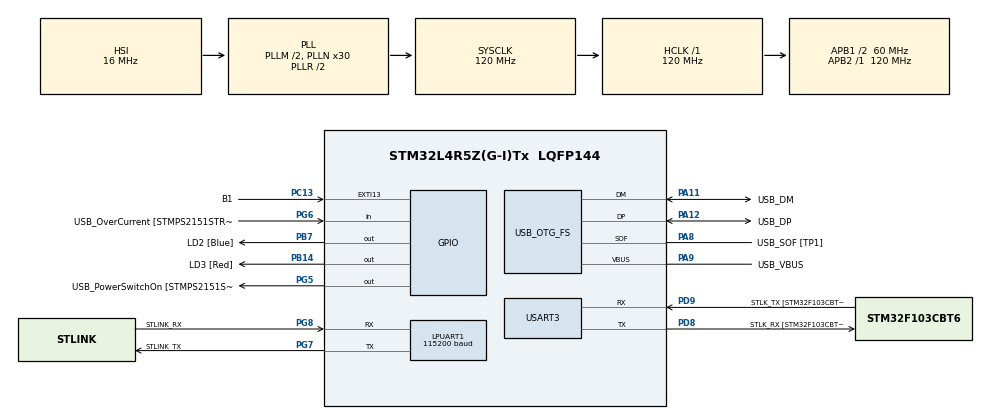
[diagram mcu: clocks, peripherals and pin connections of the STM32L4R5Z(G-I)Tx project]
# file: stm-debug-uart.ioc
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LPUART1.BaudRate=115200
LPUART1.WordLength=UART_WORDLENGTH_8B
Mcu.Family=STM32L4
Mcu.Name=STM32L4R5Z(G-I)Tx
Mcu.Package=LQFP144
NVIC.PriorityGroup=NVIC_PRIORITYGROUP_4
NVIC.USART3_IRQn=true\:0\:0\:false\:false\:true\:true\:true
PA10.GPIO_Label=USB_ID
PA10.Signal=USB_OTG_FS_ID
PA11.GPIO_Label=USB_DM
PA11.Mode=Device_Only
PA11.Signal=USB_OTG_FS_DM
PA12.GPIO_Label=USB_DP
PA12.Mode=Device_Only
PA12.Signal=USB_OTG_FS_DP
PA13\ (JTMS/SWDIO).GPIO_Label=TMS
PA13\ (JTMS/SWDIO).Mode=Trace_Asynchronous_SW
PA13\ (JTMS/SWDIO).Signal=SYS_JTMS-SWDIO
PA14\ (JTCK/SWCLK).GPIO_Label=TCK
PA14\ (JTCK/SWCLK).Mode=Trace_Asynchronous_SW
PA14\ (JTCK/SWCLK).Signal=SYS_JTCK-SWCLK
PA8.GPIO_Label=USB_SOF [TP1]
PA8.Mode=Activate_SOF_FS
PA8.Signal=USB_OTG_FS_SOF
PA9.GPIO_Label=USB_VBUS
PA9.Mode=Activate_VBUS
PA9.Signal=USB_OTG_FS_VBUS
PB14.GPIO_Label=LD3 [Red]
PB14.Signal=GPIO_Output
PB3\ (JTDO/TRACESWO).GPIO_Label=SWO
PB3\ (JTDO/TRACESWO).Mode=Trace_Asynchronous_SW
PB3\ (JTDO/TRACESWO).Signal=SYS_JTDO-SWO
PB7.GPIO_Label=LD2 [Blue]
PB7.Signal=GPIO_Output
PC13.GPIO_Label=B1
PC13.Signal=GPXTI13
PC14-OSC32_IN\ (PC14).Mode=LSE-External-Oscillator
PC14-OSC32_IN\ (PC14).Signal=RCC_OSC32_IN
PC15-OSC32_OUT\ (PC15).Mode=LSE-External-Oscillator
PC15-OSC32_OUT\ (PC15).Signal=RCC_OSC32_OUT
PD8.GPIO_Label=STLK_RX [STM32F103CBT6_PA3]
PD8.Mode=Asynchronous
PD8.Signal=USART3_TX
PD9.GPIO_Label=STLK_TX [STM32F103CBT6_PA2]
PD9.Mode=Asynchronous
PD9.Signal=USART3_RX
PG5.GPIO_Label=USB_PowerSwitchOn [STMPS2151STR_EN]
PG5.Signal=GPIO_Output
PG6.GPIO_Label=USB_OverCurrent [STMPS2151STR_FAULT]
PG6.Signal=GPIO_Input
PG7.GPIO_Label=STLINK_TX
PG7.Mode=Asynchronous
PG7.Signal=LPUART1_TX
PG8.GPIO_Label=STLINK_RX
PG8.Mode=Asynchronous
PG8.Signal=LPUART1_RX
PH0-OSC_IN\ (PH0).Signal=RCC_OSC_IN
PH1-OSC_OUT\ (PH1).Signal=RCC_OSC_OUT
ProjectManager.HeapSize=0x200
ProjectManager.StackSize=0x400
ProjectManager.TargetToolchain=EWARM V8.32
RCC.48MHZClocksFreq_Value=24000000
RCC.ADCFreq_Value=96000000
RCC.AHBFreq_Value=120000000
RCC.APB1CLKDivider=RCC_HCLK_DIV2
RCC.APB1Freq_Value=60000000
RCC.APB1TimFreq_Value=120000000
RCC.APB2Freq_Value=120000000
RCC.APB2TimFreq_Value=120000000
RCC.CK48CLockSelection=RCC_USBCLKSOURCE_HSI48
RCC.CortexFreq_Value=120000000
RCC.HCLKFreq_Value=120000000
RCC.HSE_VALUE=8000000
RCC.HSI48_VALUE=48000000
RCC.HSI_VALUE=16000000
RCC.MSI_VALUE=4000000
RCC.PLLM1=2
RCC.PLLMUL=RCC_PLL_MUL9
RCC.PLLN=30
RCC.PLLSAI1N=12
RCC.PLLSourceVirtual=RCC_PLLSOURCE_HSI
RCC.PRESCALERUSB=RCC_USBCLKSOURCE_PLL_DIV1_5
RCC.SYSCLKFreq_VALUE=120000000
RCC.SYSCLKSource=RCC_SYSCLKSOURCE_PLLCLK
RCC.SYSCLKSourceVirtual=RCC_SYSCLKSOURCE_PLLCLK
RCC.USBFreq_Value=48000000
RCC.VCOOutputFreq_Value=240000000
USART3.VirtualMode-Asynchronous=VM_ASYNC
USB_OTG_FS.VirtualMode=Device_Only
board=NUCLEO-L4R5ZI

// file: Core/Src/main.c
/* USER CODE BEGIN Header */
/**
  ******************************************************************************
  * @file           : main.c
  * @brief          : Main program body
  ******************************************************************************
  * @attention
  *
  * <h2><center>&copy; Copyright (c) 2022 STMicroelectronics.
  * All rights reserved.</center></h2>
  *
  * This software component is licensed by ST under BSD 3-Clause license,
  * the "License"; You may not use this file except in compliance with the
  * License. You may obtain a copy of the License at:
  *                        opensource.org/licenses/BSD-3-Clause
  *
  ******************************************************************************
  */
/* USER CODE END Header */
#include "main.h"

/* USER CODE BEGIN Includes */
#include <errno.h>
#include <stdio.h>
#include <string.h>

/* USER CODE END Includes */

UART_HandleTypeDef hlpuart1;
UART_HandleTypeDef huart3;

PCD_HandleTypeDef hpcd_USB_OTG_FS;

/* USER CODE BEGIN PV */
char command[512];
int idx = 0;
/* USER CODE END PV */

void SystemClock_Config(void);
static void MX_GPIO_Init(void);
static void MX_LPUART1_UART_Init(void);
static void MX_USART3_UART_Init(void);
static void MX_USB_OTG_FS_PCD_Init(void);
/* USER CODE BEGIN PFP */
void RetargetInit(UART_HandleTypeDef *huart);

/* USER CODE END PFP */

int main(void)
{
  /* USER CODE BEGIN 1 */
  int c;

  /* USER CODE END 1 */

  /* MCU Configuration--------------------------------------------------------*/

  /* Reset of all peripherals, Initializes the Flash interface and the Systick. */
  HAL_Init();

  /* Configure the system clock */
  SystemClock_Config();

  /* Initialize all configured peripherals */
  MX_GPIO_Init();
  MX_LPUART1_UART_Init();
  MX_USART3_UART_Init();
  MX_USB_OTG_FS_PCD_Init();
  /* USER CODE BEGIN 2 */
  RetargetInit(&hlpuart1);
  printf("ready\r\n");
  /* USER CODE END 2 */

  /* Infinite loop */
  while (1)
  {

    /* USER CODE BEGIN 3 */
		c = getchar();
		if (c == '\n')
		{
			printf("%s\r\n", command);
			memset(command, 0, 512);
			printf("ready\r\n");
		}
		else
		{
			command[idx] = c;
            ++idx;
            idx = idx > 510 ? 510 : idx;
		}
  }
  /* USER CODE END 3 */
}

void SystemClock_Config(void)
{
  RCC_OscInitTypeDef RCC_OscInitStruct = {0};
  RCC_ClkInitTypeDef RCC_ClkInitStruct = {0};

  /** Configure the main internal regulator output voltage
  */
  if (HAL_PWREx_ControlVoltageScaling(PWR_REGULATOR_VOLTAGE_SCALE1_BOOST) != HAL_OK)
  {
    Error_Handler();
  }
  /** Initializes the RCC Oscillators according to the specified parameters
  * in the RCC_OscInitTypeDef structure.
  */
  RCC_OscInitStruct.OscillatorType = RCC_OSCILLATORTYPE_HSI48|RCC_OSCILLATORTYPE_HSI;
  RCC_OscInitStruct.HSIState = RCC_HSI_ON;
  RCC_OscInitStruct.HSI48State = RCC_HSI48_ON;
  RCC_OscInitStruct.HSICalibrationValue = RCC_HSICALIBRATION_DEFAULT;
  RCC_OscInitStruct.PLL.PLLState = RCC_PLL_ON;
  RCC_OscInitStruct.PLL.PLLSource = RCC_PLLSOURCE_HSI;
  RCC_OscInitStruct.PLL.PLLM = 2;
  RCC_OscInitStruct.PLL.PLLN = 30;
  RCC_OscInitStruct.PLL.PLLP = RCC_PLLP_DIV2;
  RCC_OscInitStruct.PLL.PLLQ = RCC_PLLQ_DIV2;
  RCC_OscInitStruct.PLL.PLLR = RCC_PLLR_DIV2;
  if (HAL_RCC_OscConfig(&RCC_OscInitStruct) != HAL_OK)
  {
    Error_Handler();
  }
  /** Initializes the CPU, AHB and APB buses clocks
  */
  RCC_ClkInitStruct.ClockType = RCC_CLOCKTYPE_HCLK|RCC_CLOCKTYPE_SYSCLK
                              |RCC_CLOCKTYPE_PCLK1|RCC_CLOCKTYPE_PCLK2;
  RCC_ClkInitStruct.SYSCLKSource = RCC_SYSCLKSOURCE_PLLCLK;
  RCC_ClkInitStruct.AHBCLKDivider = RCC_SYSCLK_DIV1;
  RCC_ClkInitStruct.APB1CLKDivider = RCC_HCLK_DIV2;
  RCC_ClkInitStruct.APB2CLKDivider = RCC_HCLK_DIV1;

  if (HAL_RCC_ClockConfig(&RCC_ClkInitStruct, FLASH_LATENCY_5) != HAL_OK)
  {
    Error_Handler();
  }
}

static void MX_LPUART1_UART_Init(void)
{

  hlpuart1.Instance = LPUART1;
  hlpuart1.Init.BaudRate = 115200;
  hlpuart1.Init.WordLength = UART_WORDLENGTH_8B;
  hlpuart1.Init.StopBits = UART_STOPBITS_1;
  hlpuart1.Init.Parity = UART_PARITY_NONE;
  hlpuart1.Init.Mode = UART_MODE_TX_RX;
  hlpuart1.Init.HwFlowCtl = UART_HWCONTROL_NONE;
  hlpuart1.Init.OneBitSampling = UART_ONE_BIT_SAMPLE_DISABLE;
  hlpuart1.Init.ClockPrescaler = UART_PRESCALER_DIV1;
  hlpuart1.AdvancedInit.AdvFeatureInit = UART_ADVFEATURE_NO_INIT;
  hlpuart1.FifoMode = UART_FIFOMODE_DISABLE;
  if (HAL_UART_Init(&hlpuart1) != HAL_OK)
  {
    Error_Handler();
  }
  if (HAL_UARTEx_SetTxFifoThreshold(&hlpuart1, UART_TXFIFO_THRESHOLD_1_8) != HAL_OK)
  {
    Error_Handler();
  }
  if (HAL_UARTEx_SetRxFifoThreshold(&hlpuart1, UART_RXFIFO_THRESHOLD_1_8) != HAL_OK)
  {
    Error_Handler();
  }
  if (HAL_UARTEx_DisableFifoMode(&hlpuart1) != HAL_OK)
  {
    Error_Handler();
  }

}

static void MX_USART3_UART_Init(void)
{

  huart3.Instance = USART3;
  huart3.Init.BaudRate = 115200;
  huart3.Init.WordLength = UART_WORDLENGTH_8B;
  huart3.Init.StopBits = UART_STOPBITS_1;
  huart3.Init.Parity = UART_PARITY_NONE;
  huart3.Init.Mode = UART_MODE_TX_RX;
  huart3.Init.HwFlowCtl = UART_HWCONTROL_NONE;
  huart3.Init.OverSampling = UART_OVERSAMPLING_16;
  huart3.Init.OneBitSampling = UART_ONE_BIT_SAMPLE_DISABLE;
  huart3.Init.ClockPrescaler = UART_PRESCALER_DIV1;
  huart3.AdvancedInit.AdvFeatureInit = UART_ADVFEATURE_NO_INIT;
  if (HAL_UART_Init(&huart3) != HAL_OK)
  {
    Error_Handler();
  }
  if (HAL_UARTEx_SetTxFifoThreshold(&huart3, UART_TXFIFO_THRESHOLD_1_8) != HAL_OK)
  {
    Error_Handler();
  }
  if (HAL_UARTEx_SetRxFifoThreshold(&huart3, UART_RXFIFO_THRESHOLD_1_8) != HAL_OK)
  {
    Error_Handler();
  }
  if (HAL_UARTEx_DisableFifoMode(&huart3) != HAL_OK)
  {
    Error_Handler();
  }

}

static void MX_USB_OTG_FS_PCD_Init(void)
{

  hpcd_USB_OTG_FS.Instance = USB_OTG_FS;
  hpcd_USB_OTG_FS.Init.dev_endpoints = 6;
  hpcd_USB_OTG_FS.Init.phy_itface = PCD_PHY_EMBEDDED;
  hpcd_USB_OTG_FS.Init.Sof_enable = ENABLE;
  hpcd_USB_OTG_FS.Init.low_power_enable = DISABLE;
  hpcd_USB_OTG_FS.Init.lpm_enable = DISABLE;
  hpcd_USB_OTG_FS.Init.battery_charging_enable = ENABLE;
  hpcd_USB_OTG_FS.Init.use_dedicated_ep1 = DISABLE;
  hpcd_USB_OTG_FS.Init.vbus_sensing_enable = ENABLE;
  if (HAL_PCD_Init(&hpcd_USB_OTG_FS) != HAL_OK)
  {
    Error_Handler();
  }

}

static void MX_GPIO_Init(void)
{
  GPIO_InitTypeDef GPIO_InitStruct = {0};

  /* GPIO Ports Clock Enable */
  __HAL_RCC_GPIOC_CLK_ENABLE();
  __HAL_RCC_GPIOH_CLK_ENABLE();
  __HAL_RCC_GPIOB_CLK_ENABLE();
  __HAL_RCC_GPIOD_CLK_ENABLE();
  __HAL_RCC_GPIOG_CLK_ENABLE();
  HAL_PWREx_EnableVddIO2();
  __HAL_RCC_GPIOA_CLK_ENABLE();

  /*Configure GPIO pin Output Level */
  HAL_GPIO_WritePin(GPIOB, LD3_Pin|LD2_Pin, GPIO_PIN_RESET);

  /*Configure GPIO pin Output Level */
  HAL_GPIO_WritePin(USB_PowerSwitchOn_GPIO_Port, USB_PowerSwitchOn_Pin, GPIO_PIN_RESET);

  /*Configure GPIO pin : B1_Pin */
  GPIO_InitStruct.Pin = B1_Pin;
  GPIO_InitStruct.Mode = GPIO_MODE_IT_RISING;
  GPIO_InitStruct.Pull = GPIO_NOPULL;
  HAL_GPIO_Init(B1_GPIO_Port, &GPIO_InitStruct);

  /*Configure GPIO pins : LD3_Pin LD2_Pin */
  GPIO_InitStruct.Pin = LD3_Pin|LD2_Pin;
  GPIO_InitStruct.Mode = GPIO_MODE_OUTPUT_PP;
  GPIO_InitStruct.Pull = GPIO_NOPULL;
  GPIO_InitStruct.Speed = GPIO_SPEED_FREQ_LOW;
  HAL_GPIO_Init(GPIOB, &GPIO_InitStruct);

  /*Configure GPIO pin : USB_PowerSwitchOn_Pin */
  GPIO_InitStruct.Pin = USB_PowerSwitchOn_Pin;
  GPIO_InitStruct.Mode = GPIO_MODE_OUTPUT_PP;
  GPIO_InitStruct.Pull = GPIO_NOPULL;
  GPIO_InitStruct.Speed = GPIO_SPEED_FREQ_LOW;
  HAL_GPIO_Init(USB_PowerSwitchOn_GPIO_Port, &GPIO_InitStruct);

  /*Configure GPIO pin : USB_OverCurrent_Pin */
  GPIO_InitStruct.Pin = USB_OverCurrent_Pin;
  GPIO_InitStruct.Mode = GPIO_MODE_INPUT;
  GPIO_InitStruct.Pull = GPIO_NOPULL;
  HAL_GPIO_Init(USB_OverCurrent_GPIO_Port, &GPIO_InitStruct);

}

/* USER CODE BEGIN 4 */

#if !defined(OS_USE_SEMIHOSTING)

#define STDIN_FILENO  0
#define STDOUT_FILENO 1
#define STDERR_FILENO 2

#define EBADF 9
#define EIO 5
UART_HandleTypeDef *gHuart;

void RetargetInit(UART_HandleTypeDef *huart) {
  gHuart = huart;

  /* Disable I/O buffering for STDOUT stream, so that
   * chars are sent out as soon as they are printed. */
  setvbuf(stdout, NULL, _IONBF, 0);
}

int _isatty(int fd) {
  if (fd >= STDIN_FILENO && fd <= STDERR_FILENO)
    return 1;

  errno = EBADF;
  return 0;
}

int __write(int fd, char* ptr, int len) {
  HAL_StatusTypeDef hstatus;

  if (fd == STDOUT_FILENO || fd == STDERR_FILENO) {
    hstatus = HAL_UART_Transmit(gHuart, (uint8_t *) ptr, len, HAL_MAX_DELAY);
    if (hstatus == HAL_OK)
      return len;
    else
      return EIO;
  }
  errno = EBADF;
  return -1;
}

int __close(int fd) {
  if (fd >= STDIN_FILENO && fd <= STDERR_FILENO)
    return 0;

  errno = EBADF;
  return -1;
}

int __lseek(int fd, int ptr, int dir) {
  (void) fd;
  (void) ptr;
  (void) dir;

  errno = EBADF;
  return -1;
}

int remove(const char *name) { return -1; }

int __read(int fd, char* ptr, int len) {
  HAL_StatusTypeDef hstatus;

  if (fd == STDIN_FILENO) {
    hstatus = HAL_UART_Receive(gHuart, (uint8_t *) ptr, 1, HAL_MAX_DELAY);
    if (hstatus == HAL_OK)
      return 1;
    else
      return EIO;
  }
  errno = EBADF;
  return -1;
}

#endif //#if !defined(OS_USE_SEMIHOSTING)

/* USER CODE END 4 */

void Error_Handler(void)
{
  __disable_irq();
  while (1)
  {
  }
}

/************************ (C) COPYRIGHT STMicroelectronics *****END OF FILE****/
